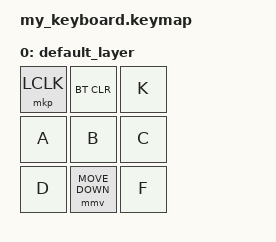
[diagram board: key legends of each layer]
#include <behaviors.dtsi>
#include <dt-bindings/zmk/keys.h>
#include <dt-bindings/zmk/bt.h>
#include <dt-bindings/zmk/mouse.h> 

&mmv {
    time-to-max-speed-ms = <500>;
    acceleration-exponent = <1>;
};

&msc {
    time-to-max-speed-ms = <500>;
    acceleration-exponent = <1>;
};
&pd0 {
    status = "okay";
    sampling-interval = <10>;
    scale-multiplier = <1>;
    deadzone = <100>;
};

/ {
    joystick_listener: joystick_listener {
        compatible = "zmk,input-behavior-listener";
        device = <&joystick_split>;
        layers = <0>;
        evt-type = <INPUT_EV_REL>;
        x-input-code = <INPUT_REL_X>;
        y-input-code = <INPUT_REL_Y>;
        scale-multiplier = <1>;     // カーソルの速さ。遅ければ 2 や 3 に増やす
        scale-exponent = <1>;       // 加速感。1は等速
        status = "okay";
    };

    keymap {
        compatible = "zmk,keymap";

        default_layer { // Layer 0
            // -------------------------------------
            // |     Z     |     M     |     K     |
            // |     A     |     B     |     C     |
            // |     D     |     E     |     F     |
            bindings = <
                &mkp LCLK    &bt BT_CLR    &kp K
                &kp A    &kp B    &kp C
                &kp D    &mmv MOVE_DOWN    &kp F
            >;
        };
    };
 };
